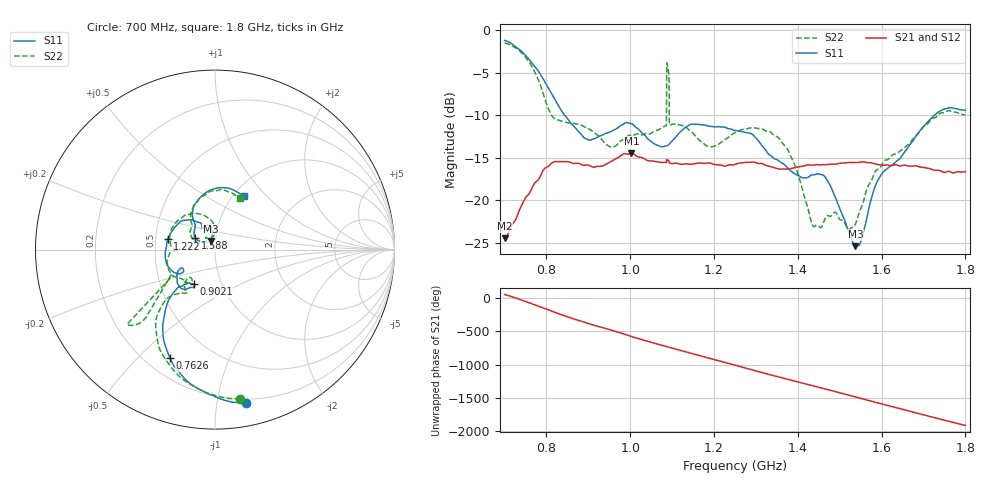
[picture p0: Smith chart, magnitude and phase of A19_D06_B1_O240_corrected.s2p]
! Created with skrf 1.9.0 (http://scikit-rf.org).
# Hz S RI R 50.0
!freq ReS11 ImS11 ReS21 ImS21 ReS12 ImS12 ReS22 ImS22
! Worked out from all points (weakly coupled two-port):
!   1601 points, 700 MHz to 1.8 GHz, reference 50 ohm
!   highest |S21| = -14.47 dB at 1.002 GHz (marker M1); lowest = -24.4 dB at 700.7 MHz (marker M2)
!   lowest |S11| = -25.4 dB at 1.537 GHz (marker M3), VSWR 1.11, Z = 47.5 + j4.62 ohm
!   |S11| at or under -10 dB: 843.6 MHz to 1.726 GHz (882.1 MHz wide, 68.7 % of centre)
!   |S22| runs from -23.4 to -1.5 dB; largest |S21 - S12| = 0.0035
!   S11 on the Smith chart (normalised r, x): 700 MHz: 0.17, -1.21; 762.6 MHz: 0.30, -0.63; 902.1 MHz: 0.74, -0.30; 1.222 GHz: 0.58, +0.07; 1.588 GHz: 0.80, +0.10; 1.8 GHz: 1.12, +0.75
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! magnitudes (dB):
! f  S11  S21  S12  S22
! 700 MHz  -1.2  -24.4  -24.2  -1.5
! 700.7 MHz  -1.2  -24.4  -24.1  -1.5
! 762.6 MHz  -3.7  -18.8  -18.8  -4.0
! 815.5 MHz  -7.7  -15.5  -15.6  -10.2
! 883.6 MHz  -12.3  -15.8  -15.7  -11.2
! 902.1 MHz  -12.9  -15.9  -15.9  -11.6
! 1.002 GHz  -11.0  -14.5  -14.6  -12.4
! 1.067 GHz  -13.5  -15.5  -15.4  -11.7
! 1.081 GHz  -13.6  -15.5  -15.6  -11.3
! 1.087 GHz  -13.6  -15.2  -15.2  -3.8
! 1.093 GHz  -13.4  -15.4  -15.4  -5.3
! 1.099 GHz  -13.1  -15.7  -15.6  -11.1
! 1.222 GHz  -11.4  -15.9  -16.0  -12.9
! 1.25 GHz  -11.8  -15.8  -15.7  -12.1
! 1.356 GHz  -15.4  -16.3  -16.2  -12.7
! 1.434 GHz  -17.0  -15.9  -15.8  -22.7
! 1.47 GHz  -17.6  -15.8  -15.8  -21.8
! 1.537 GHz  -25.4  -15.5  -15.5  -22.8
! 1.588 GHz  -17.9  -15.7  -15.7  -16.4
! 1.617 GHz  -16.1  -15.9  -15.8  -15.1
! 1.733 GHz  -9.7  -16.5  -16.5  -10.0
! 1.8 GHz  -9.4  -16.6  -16.6  -10.0
